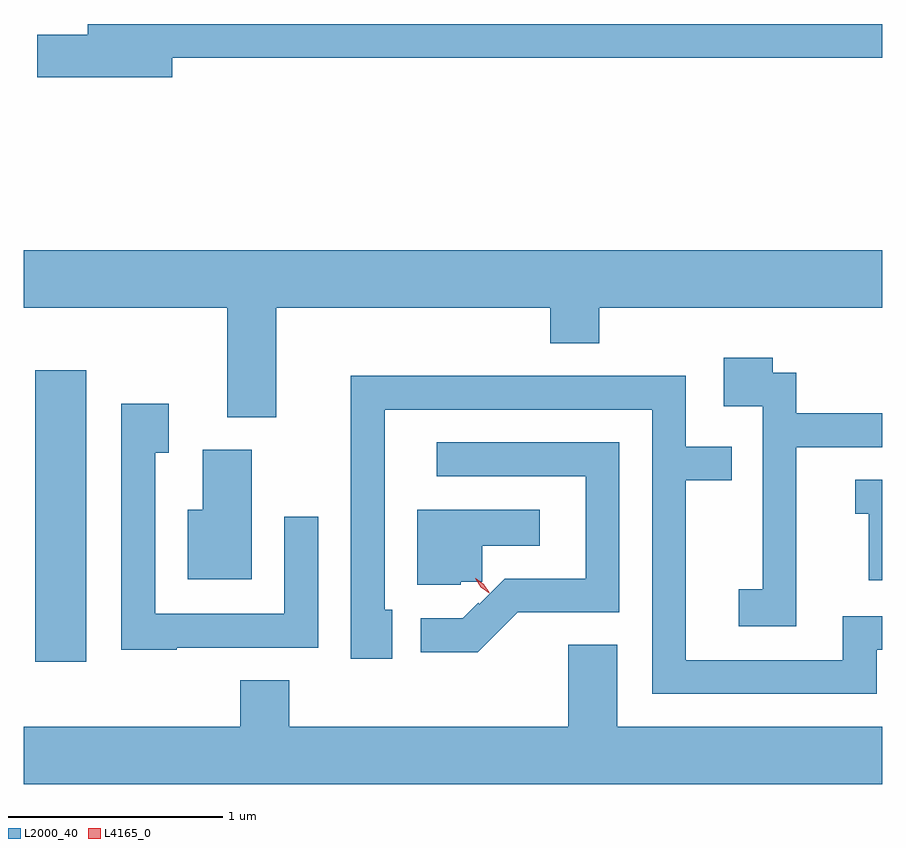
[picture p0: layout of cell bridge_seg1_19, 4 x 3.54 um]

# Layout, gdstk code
import gdstk
lib = gdstk.Library(unit=1e-6, precision=1e-09)
def R(c, l, rs):  # rectangles x0, y0, x1, y1
    for r in rs: c.add(gdstk.rectangle(r[:2], r[2:], *l))
def P(c, l, *ps):  # polygons
    for p in ps: c.add(gdstk.Polygon(p, *l))
L2000_40 = (2000, 40)
L4165_0 = (4165, 0)

bridge_seg1_19 = lib.new_cell('bridge_seg1_19')
R(bridge_seg1_19, L2000_40, [(1521.356,860.186,1521.594,861.544)])
P(bridge_seg1_19, L2000_40, [(1521.994,863.001),(1525.303,863.001),(1525.303,863.159),(1521.601,863.159),(1521.601,863.109),(1521.366,863.109),(1521.366,862.911),(1521.994,862.911)],
  [(1522.479,861.836),(1523.756,861.836),(1523.756,861.671),(1523.984,861.671),(1523.984,861.836),(1525.303,861.836),(1525.303,862.104),(1521.303,862.104),(1521.303,861.836),(1522.251,861.836),(1522.251,861.326),(1522.479,861.326)],
  [(1524.904,861.186),(1525.303,861.186),(1525.303,861.344),(1524.904,861.344),(1524.904,861.534),(1524.794,861.534),(1524.794,861.604),(1524.566,861.604),(1524.566,861.376),(1524.746,861.376),(1524.746,860.524),(1524.636,860.524),(1524.636,860.351),(1524.904,860.351)],
  [(1525.279,860.241),(1525.303,860.241),(1525.303,860.399),(1525.121,860.399),(1525.121,860.194),(1524.389,860.194),(1524.389,861.031),(1524.603,861.031),(1524.603,861.189),(1524.389,861.189),(1524.389,861.519),(1522.826,861.519),(1522.826,860.201),(1523.019,860.201),(1523.019,860.429),(1522.984,860.429),(1522.984,861.361),(1524.231,861.361),(1524.231,860.036),(1525.279,860.036)],
  [(1522.015,860.251),(1522.674,860.251),(1522.674,860.863),(1522.516,860.863),(1522.516,860.409),(1521.914,860.409),(1521.914,861.161),(1521.979,861.161),(1521.979,861.389),(1521.756,861.389),(1521.756,860.241),(1522.015,860.241)],
  [(1523.604,860.416),(1524.079,860.416),(1524.079,861.209),(1523.228,861.209),(1523.228,861.051),(1523.921,861.051),(1523.921,860.574),(1523.545,860.574),(1523.426,860.455),(1523.42,860.461),(1523.349,860.389),(1523.153,860.389),(1523.153,860.231),(1523.419,860.231)],
  [(1522.364,861.174),(1522.136,861.174),(1522.136,860.894),(1522.066,860.894),(1522.066,860.571),(1522.364,860.571)],
  [(1525.303,861.034),(1525.178,861.034),(1525.178,860.876),(1525.241,860.876),(1525.241,860.566),(1525.303,860.566)],
  [(1523.34,860.56),(1523.44,860.56),(1523.44,860.726),(1523.708,860.726),(1523.708,860.894),(1523.136,860.894),(1523.136,860.546),(1523.34,860.546)],
  [(1525.303,859.884),(1524.069,859.884),(1524.069,860.264),(1523.841,860.264),(1523.841,859.884),(1522.539,859.884),(1522.539,860.099),(1522.311,860.099),(1522.311,859.884),(1521.303,859.884),(1521.303,859.616),(1525.303,859.616)])
P(bridge_seg1_19, L4165_0, [(1523.471,860.509),(1523.433,860.534),(1523.409,860.572),(1523.409,860.573),(1523.409,860.573),(1523.447,860.548),(1523.472,860.509),(1523.472,860.509)],
  [(1523.472,860.506),(1523.432,860.534),(1523.407,860.575),(1523.407,860.575),(1523.408,860.575),(1523.447,860.548),(1523.472,860.507),(1523.472,860.506)])

lib.write_gds('bridge_seg1_19.gds')
